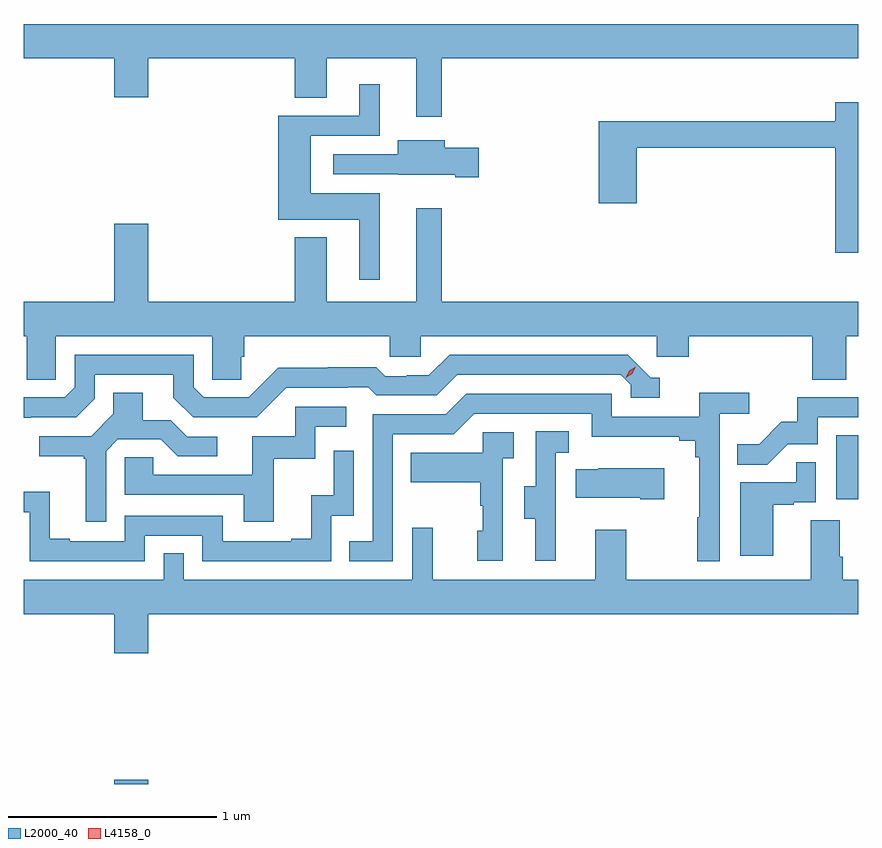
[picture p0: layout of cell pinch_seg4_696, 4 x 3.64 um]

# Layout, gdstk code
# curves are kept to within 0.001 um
import gdstk
lib = gdstk.Library(unit=1e-6, precision=1e-09)
def R(c, l, rs):  # rectangles x0, y0, x1, y1
    for r in rs: c.add(gdstk.rectangle(r[:2], r[2:], *l))
def P(c, l, *ps):  # polygons
    for p in ps: c.add(gdstk.Polygon(p, *l))
L2000_40 = (2000, 40)
L4158_0 = (4158, 0)

pinch_seg4_696 = lib.new_cell('pinch_seg4_696')
R(pinch_seg4_696, L2000_40, [(1100.072,765.37,1100.236,765.391), (1103.534,766.734,1103.639,767.041)])
P(pinch_seg4_696, L2000_40, [(1101.643,768.848),(1103.639,768.848),(1103.639,769.012),(1099.639,769.012),(1099.639,768.848),(1100.072,768.848),(1100.072,768.66),(1100.236,768.66),(1100.236,768.848),(1100.939,768.848),(1100.939,768.658),(1101.091,768.658),(1101.091,768.848),(1101.521,768.848),(1101.521,768.567),(1101.643,768.567)],
  [(1101.346,768.202),(1101.016,768.202),(1101.016,768.477),(1101.346,768.477),(1101.346,768.724),(1101.248,768.724),(1101.248,768.573),(1100.858,768.573),(1100.858,768.074),(1101.248,768.074),(1101.248,767.787),(1101.346,767.787)],
  [(1103.639,768.637),(1103.528,768.637),(1103.528,768.547),(1102.394,768.547),(1102.394,768.153),(1102.577,768.153),(1102.577,768.418),(1103.528,768.418),(1103.528,767.916),(1103.639,767.916)],
  [(1101.82,768.42),(1101.658,768.42),(1101.658,768.454),(1101.431,768.454),(1101.431,768.387),(1101.123,768.387),(1101.123,768.291),(1101.435,768.291),(1101.435,768.29),(1101.707,768.29),(1101.707,768.278),(1101.82,768.278)],
  [(1099.794,767.516),(1100.544,767.516),(1100.544,767.308),(1100.681,767.308),(1100.681,767.418),(1100.696,767.418),(1100.696,767.516),(1101.393,767.516),(1101.393,767.418),(1101.543,767.418),(1101.543,767.516),(1102.674,767.516),(1102.674,767.418),(1102.826,767.418),(1102.826,767.516),(1103.417,767.516),(1103.417,767.308),(1103.582,767.308),(1103.582,767.516),(1103.639,767.516),(1103.639,767.68),(1101.643,767.68),(1101.643,768.13),(1101.521,768.13),(1101.521,767.68),(1101.091,767.68),(1101.091,767.989),(1100.939,767.989),(1100.939,767.68),(1100.236,767.68),(1100.236,768.055),(1100.072,768.055),(1100.072,767.68),(1099.639,767.68),(1099.639,767.516),(1099.655,767.516),(1099.655,767.308),(1099.794,767.308)],
  [(1099.674,767.127),(1099.89,767.127),(1099.98,767.217),(1099.98,767.331),(1100.357,767.331),(1100.357,767.221),(1100.451,767.127),(1100.757,767.127),(1100.898,767.268),(1101.191,767.268),(1101.191,767.271),(1101.29,767.271),(1101.329,767.232),(1101.618,767.232),(1101.717,767.331),(1102.5,767.331),(1102.548,767.283),(1102.548,767.22),(1102.687,767.22),(1102.687,767.316),(1102.644,767.316),(1102.533,767.427),(1101.68,767.427),(1101.581,767.328),(1101.474,767.328),(1101.474,767.325),(1101.371,767.325),(1101.329,767.368),(1101.096,767.368),(1101.096,767.365),(1100.86,767.365),(1100.718,767.223),(1100.502,767.223),(1100.454,767.271),(1100.454,767.427),(1099.884,767.427),(1099.884,767.271),(1099.836,767.223),(1099.639,767.223),(1099.639,767.126)],
  [(1101.408,767.046),(1101.699,767.046),(1101.798,767.145),(1102.362,767.145),(1102.362,767.033),(1102.781,767.033),(1102.781,767.014),(1102.858,767.014),(1102.858,766.937),(1102.877,766.937),(1102.877,766.649),(1102.866,766.649),(1102.866,766.437),(1102.974,766.437),(1102.974,767.144),(1103.116,767.144),(1103.116,767.246),(1102.877,767.246),(1102.877,767.13),(1102.458,767.13),(1102.458,767.241),(1101.761,767.241),(1101.662,767.142),(1101.312,767.142),(1101.312,766.533),(1101.199,766.533),(1101.199,766.437),(1101.408,766.437)],
  [(1100.034,766.965),(1100.091,767.022),(1100.297,767.022),(1100.378,766.941),(1100.566,766.941),(1100.566,767.034),(1100.424,767.034),(1100.344,767.114),(1100.209,767.114),(1100.209,767.246),(1100.069,767.246),(1100.069,767.144),(1099.962,767.037),(1099.713,767.037),(1099.713,766.94),(1099.926,766.94),(1099.926,766.929),(1099.937,766.929),(1099.937,766.626),(1100.034,766.626)],
  [(1103.301,766.998),(1103.445,766.998),(1103.445,767.127),(1103.639,767.127),(1103.639,767.223),(1103.347,767.223),(1103.347,767.106),(1103.27,767.106),(1103.163,766.999),(1103.059,766.999),(1103.059,766.9),(1103.203,766.9)],
  [(1100.837,766.929),(1101.036,766.929),(1101.036,767.082),(1101.184,767.082),(1101.184,767.178),(1100.94,767.178),(1100.94,767.037),(1100.735,767.037),(1100.735,766.851),(1100.261,766.851),(1100.261,766.935),(1100.124,766.935),(1100.124,766.755),(1100.693,766.755),(1100.693,766.626),(1100.837,766.626)],
  [(1102.19,766.653),(1102.188,766.653),(1102.188,766.957),(1102.252,766.957),(1102.252,767.06),(1102.092,767.06),(1102.092,766.797),(1102.037,766.797),(1102.037,766.642),(1102.091,766.642),(1102.091,766.44),(1102.19,766.44)],
  [(1101.936,766.931),(1101.988,766.931),(1101.988,767.055),(1101.84,767.055),(1101.84,766.957),(1101.493,766.957),(1101.493,766.817),(1101.828,766.817),(1101.828,766.703),(1101.838,766.703),(1101.838,766.584),(1101.812,766.584),(1101.812,766.44),(1101.936,766.44)],
  [(1100.22,766.56),(1100.496,766.56),(1100.496,766.437),(1101.114,766.437),(1101.114,766.656),(1101.222,766.656),(1101.222,766.966),(1101.126,766.966),(1101.126,766.754),(1101.017,766.754),(1101.017,766.546),(1100.921,766.546),(1100.921,766.533),(1100.592,766.533),(1100.592,766.656),(1100.124,766.656),(1100.124,766.533),(1099.861,766.533),(1099.861,766.546),(1099.765,766.546),(1099.765,766.771),(1099.639,766.771),(1099.639,766.673),(1099.668,766.673),(1099.668,766.437),(1100.22,766.437)],
  [(1103.23,766.707),(1103.33,766.707),(1103.33,766.719),(1103.436,766.719),(1103.436,766.913),(1103.341,766.913),(1103.341,766.815),(1103.072,766.815),(1103.072,766.464),(1103.23,766.464)],
  [(1102.708,766.882),(1102.393,766.882),(1102.393,766.879),(1102.285,766.879),(1102.285,766.742),(1102.595,766.742),(1102.595,766.735),(1102.708,766.735)],
  [(1100.236,766.184),(1103.639,766.184),(1103.639,766.348),(1103.564,766.348),(1103.564,766.46),(1103.551,766.46),(1103.551,766.634),(1103.411,766.634),(1103.411,766.348),(1102.527,766.348),(1102.527,766.588),(1102.379,766.588),(1102.379,766.348),(1101.599,766.348),(1101.599,766.597),(1101.501,766.597),(1101.501,766.348),(1100.406,766.348),(1100.406,766.475),(1100.31,766.475),(1100.31,766.348),(1099.639,766.348),(1099.639,766.184),(1100.072,766.184),(1100.072,765.996),(1100.236,765.996)])
P(pinch_seg4_696, L4158_0, [(1102.524,767.317),(1102.524,767.317),(1102.541,767.35),(1102.572,767.369),(1102.572,767.369),(1102.572,767.369),(1102.555,767.336),(1102.524,767.317)])

lib.write_gds('pinch_seg4_696.gds')
